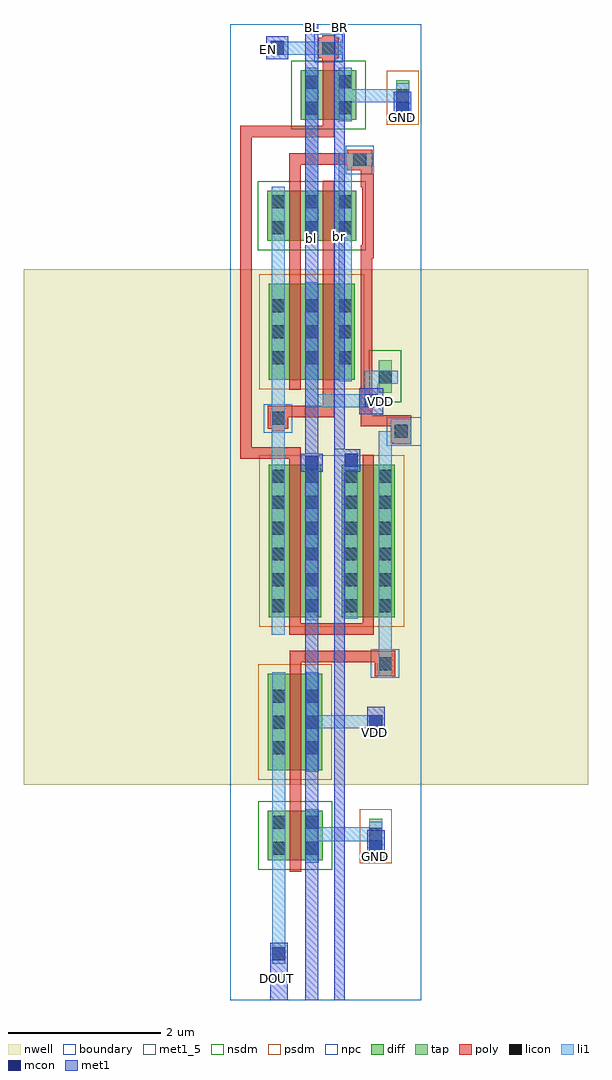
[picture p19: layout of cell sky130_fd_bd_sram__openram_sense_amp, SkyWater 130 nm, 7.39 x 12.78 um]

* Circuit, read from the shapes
.subckt sky130_fd_bd_sram__openram_sense_amp BL BR DOUT EN GND VDD
XM1 n1 n2 n3 GND sky130_fd_pr__nfet_01v8 w=0.65 l=0.15
XM2 GND n2 DOUT GND sky130_fd_pr__nfet_01v8 w=0.65 l=0.15
XM3 n2 n3 n1 GND sky130_fd_pr__nfet_01v8 w=0.65 l=0.15
XM4 GND EN n1 GND sky130_fd_pr__nfet_01v8 w=0.65 l=0.15
XM5 BL EN n3 VDD sky130_fd_pr__pfet_01v8 w=2 l=0.15
XM6 VDD n2 n3 VDD sky130_fd_pr__pfet_01v8 w=1.26 l=0.15
XM7 VDD n2 DOUT VDD sky130_fd_pr__pfet_01v8 w=1.26 l=0.15
XM8 n2 n3 VDD VDD sky130_fd_pr__pfet_01v8 w=1.26 l=0.15
XM9 n2 EN BR VDD sky130_fd_pr__pfet_01v8 w=2 l=0.15
.ends

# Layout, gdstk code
import gdstk
lib = gdstk.Library(unit=1e-6, precision=1e-09)
def R(c, l, rs):  # rectangles x0, y0, x1, y1
    for r in rs: c.add(gdstk.rectangle(r[:2], r[2:], *l))
def A(c, l, x, y, w, h, nx, ny, dx, dy):  # array of equal rectangles
    R(c, l, [(x+i*dx, y+j*dy, x+i*dx+w, y+j*dy+h) for i in range(nx) for j in range(ny)])
nwell = (64, 20)
diff = (65, 20)
tap = (65, 44)
poly = (66, 20)
licon = (66, 44)
li1 = (67, 20)
mcon = (67, 44)
met1_5 = (68, 5)
met1 = (68, 20)
nsdm = (93, 44)
psdm = (94, 20)
npc = (95, 20)
boundary = (235, 4)

sky130_fd_bd_sram__openr = lib.new_cell('sky130_fd_bd_sram__openram_sense_amp')
R(sky130_fd_bd_sram__openr, nwell, [(-2.705,2.82,4.685,9.57)])
R(sky130_fd_bd_sram__openr, diff, [(0.49,1.83,1.21,2.48), (0.49,3.01,1.2,4.27), (0.5,5.01,1.19,7.01), (1.46,5.01,2.15,7.01), (0.5,8.12,1.63,9.38), (0.48,9.945,1.65,10.595), (0.92,11.525,1.65,12.175)])
R(sky130_fd_bd_sram__openr, tap, [(1.82,1.915,1.99,2.375), (1.94,7.95,2.11,8.38), (2.17,11.585,2.34,12.045)])
R(sky130_fd_bd_sram__openr, poly, [(0.78,1.68,0.93,4.42), (1.89,4.24,2.16,4.42), (0.78,4.42,2.16,4.57), (0.77,4.78,1.88,4.93), (0.77,4.93,0.92,7.09), (1.73,4.93,1.88,7.14), (0.13,7.09,0.92,7.24), (0.13,7.24,0.28,11.295), (2.15,7.28,2.37,7.29), (2.1,7.29,2.37,7.51), (0.54,7.45,0.71,7.48), (0.49,7.48,0.76,7.63), (1.71,7.51,2.37,7.66), (0.49,7.63,1.36,7.78), (1.71,7.66,1.86,9.71), (1.21,7.78,1.36,10.725), (0.77,7.99,0.92,10.935), (1.71,9.71,1.88,9.88), (1.725,9.88,1.875,10.64), (1.71,10.64,1.88,10.81), (1.71,10.81,1.86,10.865), (1.53,10.865,1.86,10.935), (0.77,10.935,1.86,11.085), (1.53,11.085,1.86,11.135), (0.13,11.295,1.36,11.445), (1.21,11.445,1.36,12.3), (1.2,12.3,1.37,12.33), (1.15,12.33,1.42,12.6), (1.2,12.6,1.37,12.63)])
A(sky130_fd_bd_sram__openr, licon, 0.55, 3.215, 0.17, 0.17, 1, 3, 0, 0.34)
A(sky130_fd_bd_sram__openr, licon, 0.99, 3.215, 0.17, 0.17, 1, 3, 0, 0.34)
A(sky130_fd_bd_sram__openr, licon, 0.54, 5.075, 0.17, 0.17, 1, 6, 0, 0.34)
A(sky130_fd_bd_sram__openr, licon, 0.98, 5.075, 0.17, 0.17, 1, 6, 0, 0.34)
A(sky130_fd_bd_sram__openr, licon, 1.5, 5.075, 0.17, 0.17, 1, 6, 0, 0.34)
A(sky130_fd_bd_sram__openr, licon, 1.94, 5.075, 0.17, 0.17, 1, 6, 0, 0.34)
A(sky130_fd_bd_sram__openr, licon, 0.54, 8.325, 0.17, 0.17, 3, 3, 0.44, 0.34)
A(sky130_fd_bd_sram__openr, licon, 0.54, 10.025, 0.17, 0.17, 3, 2, 0.44, 0.34)
R(sky130_fd_bd_sram__openr, licon, [(0.55,1.9,0.72,2.07), (0.99,1.9,1.16,2.07), (1.82,2.085,1.99,2.255), (0.55,2.24,0.72,2.41), (0.99,2.24,1.16,2.41), (1.94,4.32,2.11,4.49), (2.15,7.36,2.32,7.53), (0.54,7.53,0.71,7.7), (1.94,8.07,2.11,8.24), (1.61,10.915,1.78,11.085), (0.98,11.59,1.15,11.76), (1.42,11.6,1.59,11.77), (2.17,11.755,2.34,11.925), (0.98,11.93,1.15,12.1), (1.42,11.94,1.59,12.11), (1.2,12.38,1.37,12.55)])
R(sky130_fd_bd_sram__openr, li1, [(0.55,0.475,0.72,4.29), (0.98,1.8,1.16,2.08), (1.82,1.915,1.99,2.08), (0.98,2.08,1.99,2.26), (0.98,2.26,1.16,2.5), (1.82,2.26,1.99,2.335), (0.99,2.99,1.16,3.56), (0.99,3.56,1.99,3.73), (0.99,3.73,1.16,4.29), (1.94,4.24,2.11,7.28), (0.54,4.78,0.71,10.65), (0.98,4.97,1.15,7.12), (1.5,4.99,1.67,7.15), (1.94,7.28,2.37,7.45), (2.1,7.45,2.37,7.61), (0.98,7.76,1.93,7.93), (0.98,7.93,1.15,9.4), (1.76,7.93,1.93,8.07), (1.76,8.07,2.19,8.24), (1.42,8.1,1.59,10.915), (0.98,9.925,1.15,12.21), (1.42,10.915,1.87,11.085), (1.42,11.505,1.59,11.755), (2.17,11.585,2.34,11.755), (1.42,11.755,2.34,11.925), (1.42,11.925,1.59,12.21), (2.17,11.925,2.34,12.005), (0.53,12.38,1.45,12.55), (0.53,12.55,0.7,12.56)])
R(sky130_fd_bd_sram__openr, mcon, [(0.55,0.52,0.72,0.69), (1.82,1.915,1.99,2.085), (1.82,3.56,1.99,3.73), (0.98,6.95,1.15,7.12), (1.5,6.98,1.67,7.15), (1.76,7.76,1.93,7.93), (2.17,11.585,2.34,11.755), (0.53,12.385,0.7,12.555)])
R(sky130_fd_bd_sram__openr, met1_5, [(0.52,0,0.75,0.75), (1.79,1.855,2.02,2.225), (1.79,3.46,2.02,3.84), (0.98,7.15,1.15,12.78), (1.36,7.21,1.5,12.78), (1.69,7.67,2,8.01), (2.14,11.525,2.37,11.895), (0.47,12.32,0.76,12.62)])
R(sky130_fd_bd_sram__openr, met1, [(0.52,0,0.75,0.75), (0.52,0,0.75,0.75), (0.98,0,1.15,6.92), (1.36,0,1.5,6.92), (1.79,1.855,2.02,2.225), (1.79,1.855,2.02,2.225), (1.79,3.46,2.02,3.84), (1.79,3.46,2.02,3.84), (0.92,6.92,1.21,7.15), (1.36,6.92,1.7,7.21), (0.98,7.15,1.15,12.78), (0.98,7.15,1.15,12.78), (1.36,7.21,1.5,12.78), (1.36,7.21,1.5,12.78), (1.69,7.67,2,8.01), (1.69,7.67,2,8.01), (2.14,11.525,2.37,11.895), (2.14,11.525,2.37,11.895), (0.47,12.32,0.76,12.62), (0.47,12.32,0.76,12.62)])
R(sky130_fd_bd_sram__openr, nsdm, [(0.365,1.705,1.335,2.605), (1.815,7.825,2.235,8.505), (0.355,9.82,1.775,10.72), (0.795,11.4,1.775,12.3)])
R(sky130_fd_bd_sram__openr, psdm, [(1.695,1.79,2.115,2.5), (0.365,2.885,1.325,4.395), (0.375,4.885,2.275,7.135), (0.375,7.995,1.755,9.505), (2.045,11.46,2.465,12.17)])
R(sky130_fd_bd_sram__openr, npc, [(1.84,4.22,2.21,4.59), (2.05,7.26,2.5,7.63), (0.44,7.43,0.81,7.8), (1.51,10.815,1.88,11.185), (1.1,12.28,1.47,12.65)])
R(sky130_fd_bd_sram__openr, boundary, [(0,0,2.5,12.78)])
sky130_fd_bd_sram__openr.add(gdstk.Label('DOUT', (0.61,0.285), layer=68, texttype=5))
sky130_fd_bd_sram__openr.add(gdstk.Label('BL', (1.07,12.74), layer=68, texttype=5))
sky130_fd_bd_sram__openr.add(gdstk.Label('BR', (1.43,12.73), layer=68, texttype=5))
sky130_fd_bd_sram__openr.add(gdstk.Label('EN', (0.5,12.45), layer=68, texttype=5))
sky130_fd_bd_sram__openr.add(gdstk.Label('GND', (2.25,11.555), layer=68, texttype=5))
sky130_fd_bd_sram__openr.add(gdstk.Label('GND', (1.9,1.885), layer=68, texttype=5))
sky130_fd_bd_sram__openr.add(gdstk.Label('VDD', (1.97,7.84), layer=68, texttype=5))
sky130_fd_bd_sram__openr.add(gdstk.Label('VDD', (1.89,3.5), layer=68, texttype=5))
sky130_fd_bd_sram__openr.add(gdstk.Label('bl', (1.065,9.965), layer=68, texttype=5))
sky130_fd_bd_sram__openr.add(gdstk.Label('br', (1.43,9.995), layer=68, texttype=5))
sky130_fd_bd_sram__openr.add(gdstk.Label('dout', (0.635,0.375), layer=68, texttype=5))
sky130_fd_bd_sram__openr.add(gdstk.Label('en', (0.615,12.47), layer=68, texttype=5))
sky130_fd_bd_sram__openr.add(gdstk.Label('vdd', (1.845,7.84), layer=68, texttype=5))
sky130_fd_bd_sram__openr.add(gdstk.Label('vdd', (1.905,3.65), layer=68, texttype=5))
sky130_fd_bd_sram__openr.add(gdstk.Label('gnd', (2.255,11.71), layer=68, texttype=5))
sky130_fd_bd_sram__openr.add(gdstk.Label('gnd', (1.905,2.04), layer=68, texttype=5))

lib.write_gds('sky130_fd_bd_sram__openram_sense_amp.gds')
